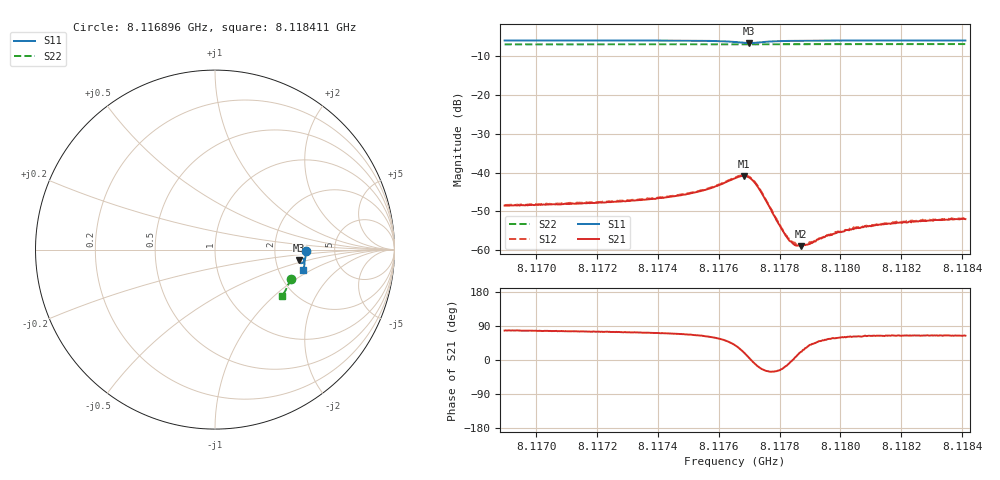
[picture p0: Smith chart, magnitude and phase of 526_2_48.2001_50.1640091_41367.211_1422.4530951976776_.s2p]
#  HZ  S  RI  R  50.00
! Rohde & Schwarz Vector Network Analyzer
! Rohde-Schwarz,ZNB20-2Port,1311601062101988,3.16
! Created: UTC 3/20/2024, 11:59:41 AM
! freq[Hz]  re:S11  im:S11  re:S21  im:S21  re:S12  im:S12  re:S22  im:S22
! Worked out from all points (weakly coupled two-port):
!   401 points, 8.116896 GHz to 8.118411 GHz, reference 50 ohm
!   highest |S21| = -40.84 dB at 8.117684 GHz (marker M1); lowest = -59.0 dB at 8.117869 GHz (marker M2)
!   lowest |S11| = -6.6 dB at 8.117699 GHz (marker M3), VSWR 2.77, Z = 135 - j20.9 ohm
!   |S11| at or under -10 dB: nowhere
!   |S22| runs from -6.9 to -6.8 dB; largest |S21 - S12| = 0.00025
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8.1168955e9  0.5067 -0.00762  0.000802 0.00368  0.000827 0.00374  0.4211 -0.1615
8.1171494e9  0.5054 -0.0277  0.001 0.00388  0.00106 0.00395  0.4154 -0.1782
8.1174032e9  0.5026 -0.0493  0.00152 0.00445  0.00162 0.00451  0.4085 -0.1946
8.1174828e9  0.5005 -0.0573  0.00194 0.00481  0.00201 0.00489  0.4062 -0.2
8.1175434e9  0.4977 -0.0642  0.00252 0.00526  0.00262 0.00537  0.4043 -0.2038
8.1175927e9  0.493 -0.0706  0.0036 0.00568  0.0037 0.00574  0.4026 -0.2069
8.1176533e9  0.4781 -0.0757  0.00662 0.00533  0.00677 0.00539  0.4002 -0.2108
8.1176836e9  0.4672 -0.0683  0.00858 0.00297  0.00878 0.00301  0.3988 -0.2121
8.1176988e9  0.4654 -0.0604  0.00867 0.000987  0.00886 0.000927  0.3985 -0.2127
8.1177139e9  0.4682 -0.0524  0.00771 -0.000863  0.00788 -0.000921  0.3983 -0.2132
8.1177329e9  0.4759 -0.0469  0.00581 -0.00205  0.00596 -0.00215  0.3981 -0.2142
8.1178049e9  0.4949 -0.055  0.00176 -0.000797  0.00178 -0.000836  0.3969 -0.2191
8.1178276e9  0.4968 -0.0588  0.00138 -0.000285  0.00138 -0.000312  0.3961 -0.2207
8.1178503e9  0.4979 -0.0622  0.00116 0.000133  0.00124 0.000141  0.3955 -0.2222
8.1178693e9  0.4983 -0.0648  0.00105 0.000405  0.00107 0.000451  0.3947 -0.2233
8.1179072e9  0.4988 -0.0694  0.000916 0.000838  0.00097 0.000839  0.3935 -0.2257
8.1179526e9  0.4988 -0.0744  0.000922 0.00123  0.000967 0.00125  0.3921 -0.2285
8.1180133e9  0.4984 -0.0805  0.000858 0.00154  0.000914 0.00156  0.3901 -0.2325
8.1180852e9  0.4976 -0.0868  0.000908 0.00179  0.000935 0.00185  0.3876 -0.2369
8.118161e9  0.4968 -0.0933  0.000947 0.00199  0.00099 0.00201  0.385 -0.2416
8.1182633e9  0.495 -0.1015  0.00104 0.00213  0.00103 0.00219  0.3814 -0.2479
8.1184111e9  0.4925 -0.1128  0.0011 0.00227  0.0011 0.00234  0.376 -0.2567
